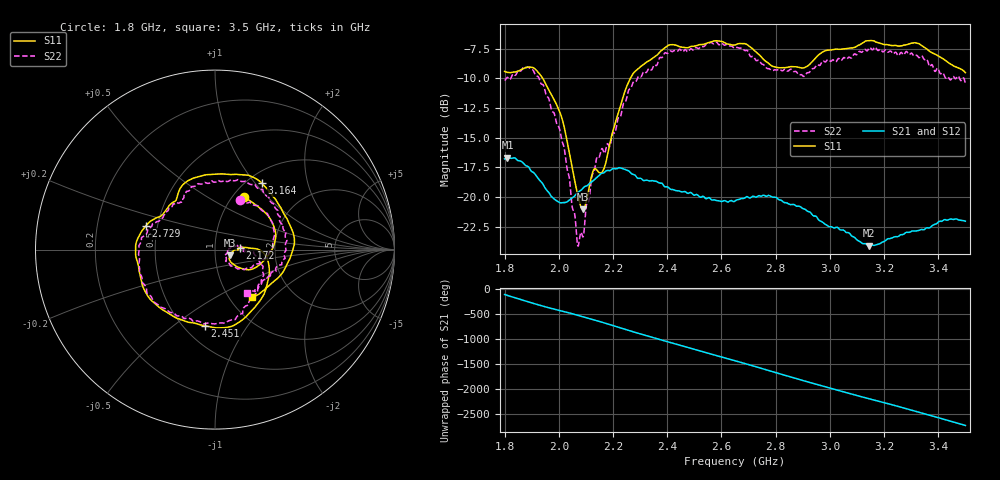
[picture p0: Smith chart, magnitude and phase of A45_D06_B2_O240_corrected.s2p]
! Created with skrf 1.9.0 (http://scikit-rf.org).
# Hz S RI R 50.0
!freq ReS11 ImS11 ReS21 ImS21 ReS12 ImS12 ReS22 ImS22
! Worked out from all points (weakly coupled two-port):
!   1601 points, 1.8 GHz to 3.5 GHz, reference 50 ohm
!   highest |S21| = -16.68 dB at 1.811 GHz (marker M1); lowest = -24.1 dB at 3.143 GHz (marker M2)
!   lowest |S11| = -21.0 dB at 2.09 GHz (marker M3), VSWR 1.19, Z = 58.9 - j3.85 ohm
!   |S11| at or under -10 dB: 1.941 GHz to 2.264 GHz (323.3 MHz wide, 15.4 % of centre)
!   |S22| runs from -24.1 to -6.9 dB; largest |S21 - S12| = 0.0024
!   S11 on the Smith chart (normalised r, x): 1.8 GHz: 1.13, +0.75; 2.172 GHz: 1.32, +0.03; 2.451 GHz: 0.63, -0.66; 2.729 GHz: 0.43, +0.14; 3.164 GHz: 1.16, +1.09; 3.5 GHz: 1.27, -0.75
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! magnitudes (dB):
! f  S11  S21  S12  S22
! 1.8 GHz  -9.4  -16.8  -16.8  -10.2
! 1.811 GHz  -9.5  -16.7  -16.7  -9.9
! 1.883 GHz  -9.1  -17.4  -17.4  -9.1
! 1.942 GHz  -10.1  -18.9  -18.9  -10.6
! 2.011 GHz  -13.4  -20.5  -20.5  -15.3
! 2.068 GHz  -19.6  -19.7  -19.7  -23.8
! 2.084 GHz  -20.9  -19.4  -19.3  -23.0
! 2.09 GHz  -21.0  -19.2  -19.3  -23.3
! 2.133 GHz  -17.6  -18.5  -18.5  -17.6
! 2.172 GHz  -17.2  -17.8  -17.9  -16.1
! 2.261 GHz  -10.1  -17.9  -17.9  -10.9
! 2.367 GHz  -7.9  -18.8  -18.7  -8.5
! 2.451 GHz  -7.4  -19.5  -19.5  -7.7
! 2.65 GHz  -7.2  -20.3  -20.3  -7.5
! 2.729 GHz  -7.8  -20.0  -20.0  -8.5
! 2.806 GHz  -9.1  -20.1  -20.1  -9.3
! 2.934 GHz  -8.6  -21.5  -21.4  -9.2
! 3.143 GHz  -6.8  -24.1  -24.0  -7.5
! 3.164 GHz  -6.9  -24.1  -24.0  -7.4
! 3.217 GHz  -7.2  -23.5  -23.5  -7.8
! 3.324 GHz  -7.0  -22.8  -22.8  -8.1
! 3.5 GHz  -9.5  -22.0  -22.0  -10.4
